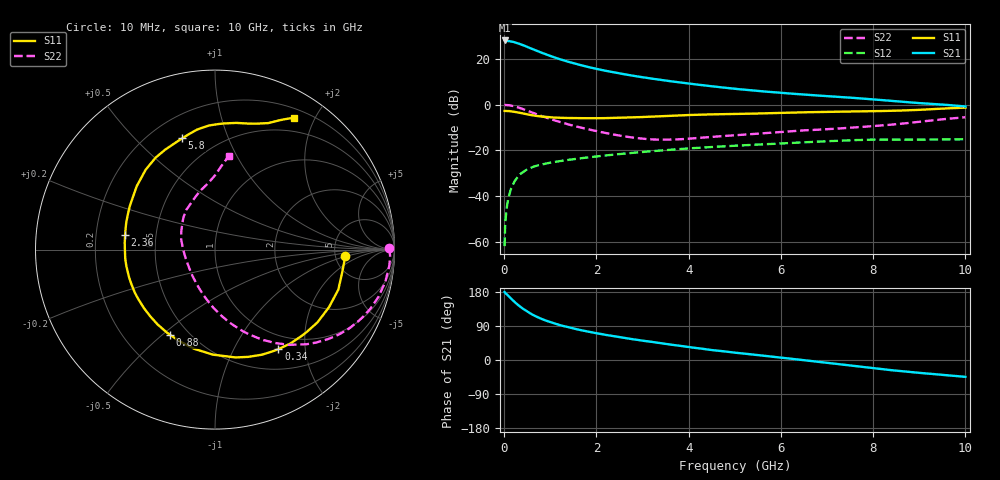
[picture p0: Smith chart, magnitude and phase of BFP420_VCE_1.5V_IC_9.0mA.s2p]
! Infineon Technologies  Discrete & RF Semiconductors
! BFP420
! VCE =  1.5 V,  IC =  9.0 mA
! Common Emitter S-Parameters:  Jan 2016
# GHz  S  MA  R  50
!  f  S11  S21  S12  S22
! GHz  MAG  ANG  MAG  ANG  MAG  ANG  MAG  ANG
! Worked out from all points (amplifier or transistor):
!   233 points, 10 MHz to 10 GHz, reference 50 ohm
!   highest |S21| = 28.0 dB at 10 MHz (marker M1)
!   |S21| within 3 dB of that: start of sweep to 523.7 MHz
!   unconditionally stable (mu >= 1): 2.408 GHz to end of sweep
!   at 200 MHz: K = 0.12, MSG = 31.0 dB, |S12| = -34.6 dB
!   at 1.74 GHz: K = 0.81, MSG = 20.1 dB, |S12| = -23.3 dB
!   at 10 GHz: K = 1.09, MAG = 5.4 dB, |S12| = -15.2 dB
!   S11 on the Smith chart (normalised r, x): 10 MHz: 6.13, -0.88; 340 MHz: 0.78, -1.53; 880 MHz: 0.40, -0.53; 2.36 GHz: 0.33, +0.07; 5.8 GHz: 0.33, +0.70; 10 GHz: 0.31, +1.72
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0.01  0.7247 -2.7  25.14 179.3  0.0008 96.8  0.9704 0.5
0.02  0.7258 -3.6  24.6 177.7  0.002 91.9  0.9763 -2.0
0.1  0.7224 -18.0  24.45 167.8  0.0097 81.6  0.9658 -10.7
0.185  0.7021 -32.7  23.5 157.8  0.0174 74.8  0.9312 -19.6
0.26  0.6813 -45.0  22.35 149.5  0.0235 69.4  0.8911 -26.8
0.34  0.6574 -57.5  21.05 141.6  0.0293 64.1  0.8403 -33.9
0.45  0.6256 -72.8  19.09 131.8  0.0356 58.2  0.767 -42.4
0.6  0.5855 -91.1  16.56 120.6  0.0423 52.0  0.6719 -52.2
0.7  0.5648 -101.8  15.06 114.4  0.0458 49.1  0.6154 -57.6
0.88  0.5366 -117.9  12.78 105.2  0.0508 45.1  0.5299 -65.9
1  0.5257 -127.4  11.53 99.8  0.0536 43.2  0.482 -71.0
1.2  0.5128 -140.6  9.846 92.2  0.0579 41.0  0.4169 -78.4
1.4  0.507 -151.7  8.543 85.9  0.0618 39.4  0.3657 -85.1
1.68  0.5022 -164.7  7.174 78.3  0.0671 37.7  0.3099 -94.0
2.36  0.5076 170.8  5.083 63.2  0.0799 34.2  0.2218 -116.3
3.4  0.5535 143.4  3.447 44.3  0.099 28.1  0.1704 -158.9
4  0.5892 131.0  2.873 34.0  0.1098 24.1  0.1793 177.6
5.1  0.6241 115.3  2.159 18.2  0.1271 16.2  0.216 150.0
5.8  0.6464 106.4  1.869 9.0  0.1376 11.3  0.2431 137.3
6.8  0.6852 95.0  1.573 -4.6  0.154 3.3  0.2813 121.4
8.4  0.7277 74.7  1.199 -26.9  0.1707 -13.0  0.3631 97.7
10  0.855 59.2  0.905 -44.5  0.1741 -24.2  0.5269 81.6
